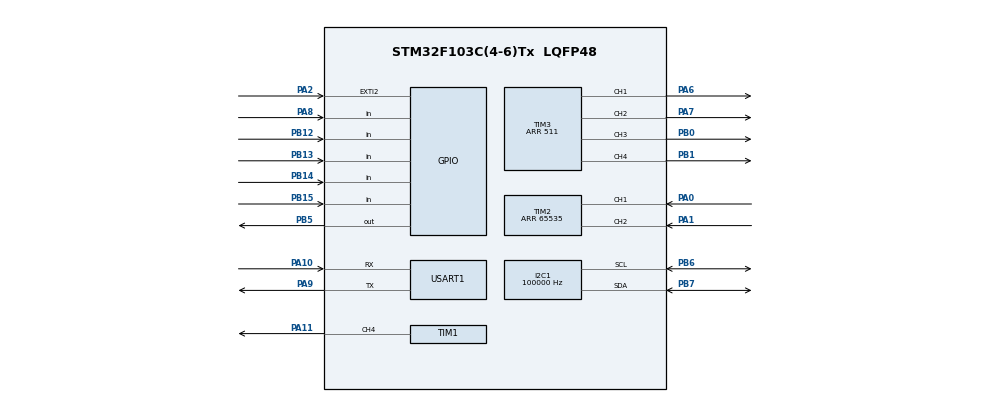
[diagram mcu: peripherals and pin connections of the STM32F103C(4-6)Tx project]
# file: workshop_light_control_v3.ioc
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I2C1.AddressingMode=I2C_ADDRESSINGMODE_7BIT
I2C1.ClockSpeed=100000
I2C1.GeneralCallMode=I2C_GENERALCALL_DISABLE
I2C1.NoStretchMode=I2C_NOSTRETCH_DISABLE
I2C1.OwnAddress=0x40
Mcu.Family=STM32F1
Mcu.Name=STM32F103C(4-6)Tx
Mcu.Package=LQFP48
NVIC.EXTI2_IRQn=true\:0\:0\:false\:false\:true\:true\:true\:true
NVIC.PriorityGroup=NVIC_PRIORITYGROUP_4
PA0-WKUP.GPIO_PuPd=GPIO_PULLUP
PA0-WKUP.Signal=S_TIM2_CH1_ETR
PA1.GPIO_PuPd=GPIO_PULLUP
PA1.Signal=S_TIM2_CH2
PA10.Mode=Asynchronous
PA10.Signal=USART1_RX
PA11.Signal=S_TIM1_CH4
PA13.Mode=Serial_Wire
PA13.Signal=SYS_JTMS-SWDIO
PA14.Mode=Serial_Wire
PA14.Signal=SYS_JTCK-SWCLK
PA2.GPIO_ModeDefaultEXTI=GPIO_MODE_IT_FALLING
PA2.GPIO_PuPd=GPIO_PULLUP
PA2.Signal=GPXTI2
PA6.Signal=S_TIM3_CH1
PA7.Signal=S_TIM3_CH2
PA8.GPIO_PuPd=GPIO_PULLUP
PA8.Signal=GPIO_Input
PA9.Mode=Asynchronous
PA9.Signal=USART1_TX
PB0.Signal=S_TIM3_CH3
PB1.Signal=S_TIM3_CH4
PB12.GPIO_PuPd=GPIO_PULLUP
PB12.Signal=GPIO_Input
PB13.GPIO_PuPd=GPIO_PULLUP
PB13.Signal=GPIO_Input
PB14.GPIO_PuPd=GPIO_PULLUP
PB14.Signal=GPIO_Input
PB15.GPIO_PuPd=GPIO_PULLUP
PB15.Signal=GPIO_Input
PB5.Signal=GPIO_Output
PB6.Mode=I2C
PB6.Signal=I2C1_SCL
PB7.Mode=I2C
PB7.Signal=I2C1_SDA
ProjectManager.HeapSize=0x200
ProjectManager.StackSize=0x400
ProjectManager.TargetToolchain=Makefile
RCC.APB1Freq_Value=8000000
RCC.APB2Freq_Value=8000000
SH.S_TIM1_CH4.0=TIM1_CH4,PWM Generation4 CH4
SH.S_TIM2_CH1_ETR.0=TIM2_CH1,Encoder_Interface
SH.S_TIM2_CH2.0=TIM2_CH2,Encoder_Interface
SH.S_TIM3_CH1.0=TIM3_CH1,PWM Generation1 CH1
SH.S_TIM3_CH2.0=TIM3_CH2,PWM Generation2 CH2
SH.S_TIM3_CH3.0=TIM3_CH3,PWM Generation3 CH3
SH.S_TIM3_CH4.0=TIM3_CH4,PWM Generation4 CH4
TIM1.AutoReloadPreload=TIM_AUTORELOAD_PRELOAD_ENABLE
TIM1.Channel-PWM\ Generation4\ CH4=TIM_CHANNEL_4
TIM1.OCPolarity_4=TIM_OCPOLARITY_LOW
TIM1.Period=511
TIM2.AutoReloadPreload=TIM_AUTORELOAD_PRELOAD_ENABLE
TIM2.EncoderMode=TIM_ENCODERMODE_TI12
TIM2.IC1Filter=10
TIM2.IC2Filter=10
TIM2.Period=65535
TIM3.AutoReloadPreload=TIM_AUTORELOAD_PRELOAD_ENABLE
TIM3.Channel-PWM\ Generation1\ CH1=TIM_CHANNEL_1
TIM3.Channel-PWM\ Generation2\ CH2=TIM_CHANNEL_2
TIM3.Channel-PWM\ Generation3\ CH3=TIM_CHANNEL_3
TIM3.Channel-PWM\ Generation4\ CH4=TIM_CHANNEL_4
TIM3.OCPolarity_1=TIM_OCPOLARITY_LOW
TIM3.OCPolarity_2=TIM_OCPOLARITY_LOW
TIM3.OCPolarity_3=TIM_OCPOLARITY_LOW
TIM3.OCPolarity_4=TIM_OCPOLARITY_LOW
TIM3.Period=511
USART1.VirtualMode=VM_ASYNC
VP_TIM1_VS_ClockSourceINT.Mode=Internal
VP_TIM3_VS_ClockSourceINT.Mode=Internal
board=custom

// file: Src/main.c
/* USER CODE BEGIN Header */
/**
  ******************************************************************************
  * @file           : main.c
  * @brief          : Main program body
  ******************************************************************************
  * @attention
  *
  * Copyright (c) 2024 STMicroelectronics.
  * All rights reserved.
  *
  * This software is licensed under terms that can be found in the LICENSE file
  * in the root directory of this software component.
  * If no LICENSE file comes with this software, it is provided AS-IS.
  *
  ******************************************************************************
  */
/* USER CODE END Header */
#include "main.h"
#include "i2c.h"
#include "tim.h"
#include "usart.h"
#include "gpio.h"

/* USER CODE BEGIN Includes */
#include <stdio.h>
#include <math.h>
#include <stdlib.h>
#include <sys/types.h>

/* USER CODE END Includes */

void SystemClock_Config(void);
/* USER CODE BEGIN PFP */

#ifdef __GNUC__
#define PUTCHAR_PROTOTYPE int __io_putchar(int ch)
#else
#define PUTCHAR_PROTOTYPE int fputc(int ch, FILE *f)
#endif
/**
  * @brief  Retargets the C library printf function to the USART.
  */
PUTCHAR_PROTOTYPE
{
  HAL_UART_Transmit(&huart1, (uint8_t *)&ch, 1, HAL_MAX_DELAY);
  return ch;
}

/* USER CODE END PFP */

/* USER CODE BEGIN 0 */

// #define PCA9635_SWRST 0x03 << 1
// #define PCA9635_ADDR 0x20 << 1
#define NUM_CHANNELS 5

GPIO_TypeDef *channels_port_mapping[NUM_CHANNELS] = {GPIOB, GPIOB, GPIOB, GPIOB, GPIOA};
uint16_t channels_pin_mapping[NUM_CHANNELS] = {GPIO_PIN_12, GPIO_PIN_13, GPIO_PIN_14, GPIO_PIN_15, GPIO_PIN_8};
//uint8_t pca9635_output_mapping[NUM_CHANNELS] = {0x02, 0x03, 0x04, 0x05, 0x06};
uint32_t *tim_ccr_mapping[NUM_CHANNELS] = {&TIM3->CCR1, &TIM3->CCR2, &TIM3->CCR3, &TIM3->CCR4, &TIM1->CCR4};

volatile uint8_t off = 0;
volatile uint8_t off_bounce_count = 0;
uint16_t remembered_cnt = 0;

// GPIO_TypeDef *GPIOx, uint16_t GPIO_Pin

void i2cscan() {
  HAL_Delay(1000);
  uint8_t i, ret;

  /*-[ I2C Bus Scanning ]-*/
  printf("Starting I2C Scanning: \r\n");
  for(i=1; i<128; i++) {
    ret = HAL_I2C_IsDeviceReady(&hi2c1, (uint16_t)(i<<1), 3, 5);
    if (ret != HAL_OK) /* No ACK Received At That Address */
    {
      printf(" - ");
    }
    else if(ret == HAL_OK)
    {
      printf("0x%X", i);
    }
  }
  printf("Done! \r\n\r\n");
  /*--[ Scanning Done ]--*/
}

// void pca9635_swrst() {
//   uint8_t mode1[2] = {0xA5, 0x5A}; //  magic byte 1, magic byte 2
//   HAL_I2C_Master_Transmit (&hi2c1, PCA9635_SWRST, mode1, 2, 5);
//   uint8_t magic3 = 0x06;
//   HAL_I2C_Master_Transmit (&hi2c1, 0x00, &magic3, 2, 5);
//
// }
//
// void pca9635_init() {
//     // https://www.nxp.com/docs/en/data-sheet/PCA9635.pdf, page 10-13
//     uint8_t mode1[2] = {0x00, 0b10000001};
//     HAL_I2C_Master_Transmit (&hi2c1, PCA9635_ADDR, mode1, 2, 5);
//
//     uint8_t mode2[2] = {0x01, 0b00000110};
//     HAL_I2C_Master_Transmit (&hi2c1, PCA9635_ADDR, mode2, 2, 5);
//
//     uint8_t ledout0[2] = {0x14, 0b10101010};
//     HAL_I2C_Master_Transmit (&hi2c1, PCA9635_ADDR, ledout0, 2, 5);
//     uint8_t ledout1[2] = {0x15, 0b10101010};
//     HAL_I2C_Master_Transmit (&hi2c1, PCA9635_ADDR, ledout1, 2, 5);
//     uint8_t ledout2[2] = {0x16, 0b10101010};
//     HAL_I2C_Master_Transmit (&hi2c1, PCA9635_ADDR, ledout2, 2, 5);
//     uint8_t ledout3[2] = {0x17, 0b10101010};
//     HAL_I2C_Master_Transmit (&hi2c1, PCA9635_ADDR, ledout3, 2, 5);
// }

/* USER CODE END 0 */

int main(void)
{

  /* USER CODE BEGIN 1 */

  uint8_t channels_on_state[NUM_CHANNELS] = {0,0,0,0,0};
  uint16_t brightness_setting_state = 0;
  float current_brightness_setting = 0;

  /* USER CODE END 1 */

  /* MCU Configuration--------------------------------------------------------*/

  /* Reset of all peripherals, Initializes the Flash interface and the Systick. */
  HAL_Init();

  /* Configure the system clock */
  SystemClock_Config();

  /* Initialize all configured peripherals */
  MX_GPIO_Init();
  MX_TIM2_Init();
  MX_USART1_UART_Init();
  MX_I2C1_Init();
  MX_TIM1_Init();
  MX_TIM3_Init();
  /* USER CODE BEGIN 2 */

  TIM2->CNT = 0;
  HAL_TIM_Encoder_Start(&htim2, TIM_CHANNEL_ALL);

  // pca9635_swrst();
  // pca9635_init();
  //
  // i2cscan();

  TIM1->CCR4 = 0;
  TIM3->CCR1 = 0;
  TIM3->CCR2 = 0;
  TIM3->CCR3 = 0;
  TIM3->CCR4 = 0;

  HAL_TIM_PWM_Start(&htim1, TIM_CHANNEL_4);
  HAL_TIM_PWM_Start(&htim3, TIM_CHANNEL_1);
  HAL_TIM_PWM_Start(&htim3, TIM_CHANNEL_2);
  HAL_TIM_PWM_Start(&htim3, TIM_CHANNEL_3);
  HAL_TIM_PWM_Start(&htim3, TIM_CHANNEL_4);

  printf("Setup DONE!\r\n");

  /* USER CODE END 2 */

  /* Infinite loop */
  /* USER CODE BEGIN WHILE */
  while (1) {
    if(off_bounce_count > 0) {
      off_bounce_count--;
    }

    uint8_t state_changed = 0;

    if (off) {
      if(remembered_cnt && TIM2->CNT > 0) {
        off = 0;
        remembered_cnt = 0;
      }
      if (!remembered_cnt) {
        remembered_cnt = TIM2->CNT;
        TIM2->CNT = 0;
      }
    } else if (remembered_cnt) {
      TIM2->CNT = remembered_cnt;
      remembered_cnt = 0;
    }

    uint16_t brightness_setting = TIM2->CNT;
    if(brightness_setting > 32767) {
      TIM2->CNT = 0;
      brightness_setting = 0;
    } else if(brightness_setting > 64) {
      TIM2->CNT = 64;
      brightness_setting = 64;
    }

    // https://alexgyver.ru/lessons/led-crt/
    // out = max * ((val / max) ^ gamma)
    float real_brightness_setting = 50.0f * pow((float)(brightness_setting << 6) / 4096.0f, 2.0f);

    if(current_brightness_setting < real_brightness_setting) {
      if(real_brightness_setting - current_brightness_setting > 0.5f) {
        current_brightness_setting += (real_brightness_setting - current_brightness_setting) * 0.1f;
      } else {
        current_brightness_setting = real_brightness_setting;
      }
    } else if(current_brightness_setting > real_brightness_setting) {
      if(current_brightness_setting - real_brightness_setting > 0.5f) {
        current_brightness_setting -= (current_brightness_setting - real_brightness_setting) * 0.1f;
      } else {
        current_brightness_setting = real_brightness_setting;
      }
    }

    brightness_setting = (uint16_t)current_brightness_setting;

    if(brightness_setting_state != brightness_setting) {
      state_changed = 1;
      brightness_setting_state = brightness_setting;
      printf("brightness_setting = %d\r\n", brightness_setting);
    }

    for(uint8_t i = 0; i < NUM_CHANNELS; i++) {
      GPIO_PinState on = !HAL_GPIO_ReadPin(channels_port_mapping[i], channels_pin_mapping[i]);
      if(channels_on_state[i] != on) {
        state_changed = 1;
        channels_on_state[i] = on;
      }
    }

    if(state_changed) {
      for(uint8_t i = 0; i < NUM_CHANNELS; i++) {
        if(channels_on_state[i] && brightness_setting > 0) {
          printf("ch %d duty cycle: %d\r\n", i, brightness_setting);
          *tim_ccr_mapping[i] = brightness_setting;
        }
        else {
          printf("ch %d off\r\n", i);
          *tim_ccr_mapping[i] = 0;
        }

      }
    }

    HAL_Delay(1);

    /* USER CODE END WHILE */

  }
}

void SystemClock_Config(void)
{
  RCC_OscInitTypeDef RCC_OscInitStruct = {0};
  RCC_ClkInitTypeDef RCC_ClkInitStruct = {0};

  /** Initializes the RCC Oscillators according to the specified parameters
  * in the RCC_OscInitTypeDef structure.
  */
  RCC_OscInitStruct.OscillatorType = RCC_OSCILLATORTYPE_HSI;
  RCC_OscInitStruct.HSIState = RCC_HSI_ON;
  RCC_OscInitStruct.HSICalibrationValue = RCC_HSICALIBRATION_DEFAULT;
  RCC_OscInitStruct.PLL.PLLState = RCC_PLL_NONE;
  if (HAL_RCC_OscConfig(&RCC_OscInitStruct) != HAL_OK)
  {
    Error_Handler();
  }

  /** Initializes the CPU, AHB and APB buses clocks
  */
  RCC_ClkInitStruct.ClockType = RCC_CLOCKTYPE_HCLK|RCC_CLOCKTYPE_SYSCLK
                              |RCC_CLOCKTYPE_PCLK1|RCC_CLOCKTYPE_PCLK2;
  RCC_ClkInitStruct.SYSCLKSource = RCC_SYSCLKSOURCE_HSI;
  RCC_ClkInitStruct.AHBCLKDivider = RCC_SYSCLK_DIV1;
  RCC_ClkInitStruct.APB1CLKDivider = RCC_HCLK_DIV1;
  RCC_ClkInitStruct.APB2CLKDivider = RCC_HCLK_DIV1;

  if (HAL_RCC_ClockConfig(&RCC_ClkInitStruct, FLASH_LATENCY_0) != HAL_OK)
  {
    Error_Handler();
  }
}

/* USER CODE BEGIN 4 */

// EXTI Line9 External Interrupt ISR Handler CallBackFun
void HAL_GPIO_EXTI_Callback(uint16_t GPIO_Pin)
{
  if(GPIO_Pin == GPIO_PIN_2 && off_bounce_count == 0) {
    off = !off;
    off_bounce_count--;
  }
}

/* USER CODE END 4 */

void Error_Handler(void)
{
  __disable_irq();
  while (1)
  {
  }
}
